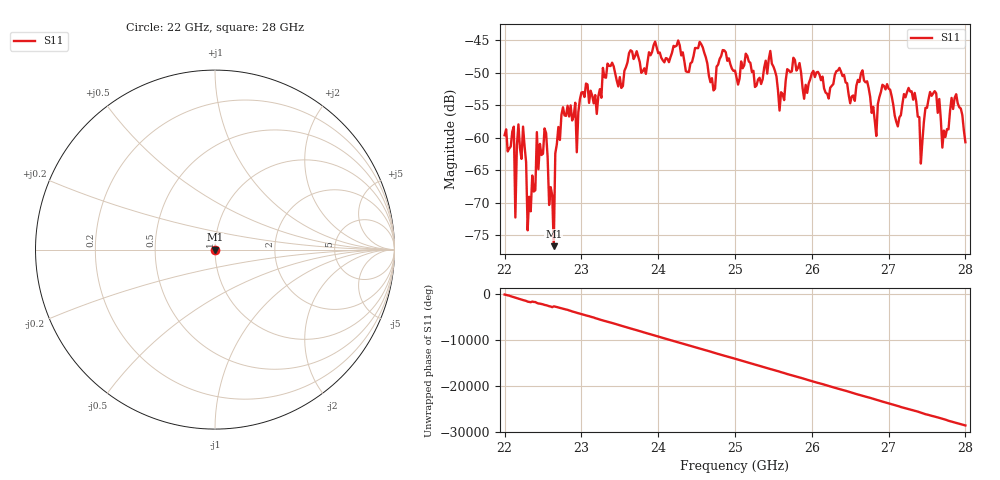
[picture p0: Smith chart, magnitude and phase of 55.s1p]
#  HZ  S  RI  R  50.00
! Rohde & Schwarz ZVA40 4Ports - Version 3.90 - 1145.1110k42 SN: 100403
! Date: 2023-10-04 06:29:11
! Measurement: S12
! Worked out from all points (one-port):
!   301 points, 22 GHz to 28 GHz, reference 50 ohm
!   lowest |S11| = -76.6 dB at 22.64 GHz (marker M1), VSWR 1.00, Z = 50 - j0.00527 ohm
!   |S11| at or under -10 dB: start of sweep to end of sweep
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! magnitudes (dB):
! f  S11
! 22 GHz  -59.6
! 22.12 GHz  -58.3
! 22.14 GHz  -72.2
! 22.18 GHz  -57.9
! 22.24 GHz  -58.3
! 22.3 GHz  -74.2
! 22.4 GHz  -68.0
! 22.42 GHz  -59.1
! 22.52 GHz  -58.5
! 22.64 GHz  -76.6
! 22.66 GHz  -62.4
! 22.76 GHz  -55.3
! 22.92 GHz  -54.6
! 22.94 GHz  -62.2
! 23.06 GHz  -51.6
! 23.5 GHz  -50.6
! 24.26 GHz  -45.0
! 25 GHz  -49.6
! 25.46 GHz  -46.6
! 25.58 GHz  -55.8
! 25.76 GHz  -47.7
! 26.5 GHz  -54.7
! 26.66 GHz  -49.6
! 26.84 GHz  -59.7
! 27.26 GHz  -52.3
! 27.42 GHz  -63.9
! 27.54 GHz  -52.9
! 28 GHz  -60.7
